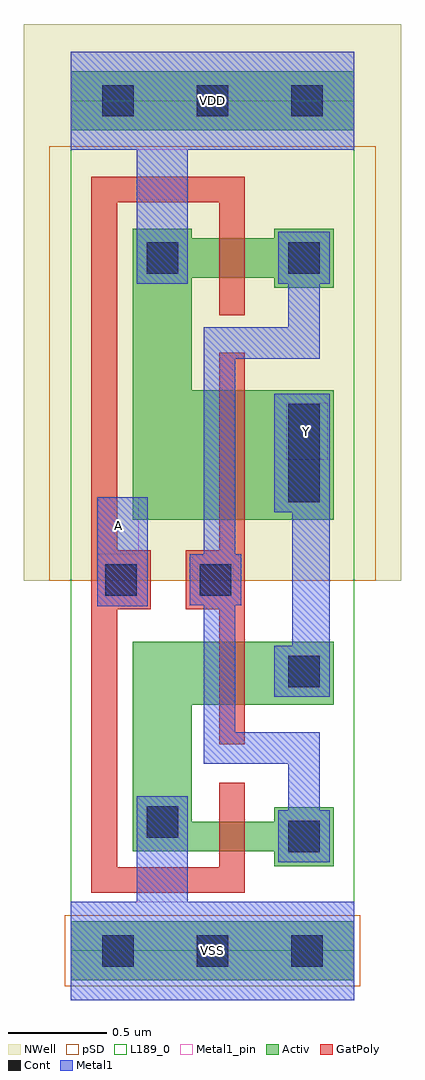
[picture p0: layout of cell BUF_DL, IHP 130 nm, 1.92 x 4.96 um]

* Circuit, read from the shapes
.subckt BUF_DL A VDD VSS Y
XM1 n1 A VSS VSS sg13_lv_nmos w=0.15u l=0.13u
XM2 Y n1 VSS VSS sg13_lv_nmos w=0.32u l=0.13u
XM3 Y n1 VDD VDD sg13_lv_pmos w=0.66u l=0.13u
XM4 n1 A VDD VDD sg13_lv_pmos w=0.2u l=0.13u
.ends

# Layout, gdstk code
import gdstk
lib = gdstk.Library(unit=1e-6, precision=1e-09)
def R(c, l, rs):  # rectangles x0, y0, x1, y1
    for r in rs: c.add(gdstk.rectangle(r[:2], r[2:], *l))
def A(c, l, x, y, w, h, nx, ny, dx, dy):  # array of equal rectangles
    R(c, l, [(x+i*dx, y+j*dy, x+i*dx+w, y+j*dy+h) for i in range(nx) for j in range(ny)])
def P(c, l, *ps):  # polygons
    for p in ps: c.add(gdstk.Polygon(p, *l))
Activ = (1, 0)
GatPoly = (5, 0)
Cont = (6, 0)
Metal1 = (8, 0)
Metal1_pin = (8, 2)
pSD = (14, 0)
NWell = (31, 0)
L189_0 = (189, 0)

buf_dl = lib.new_cell('BUF_DL')
R(buf_dl, Activ, [(0,-0.15,1.44,0.15), (0,4.17,1.44,4.47)])
P(buf_dl, Activ, [(0.615,3.42),(1.035,3.42),(1.035,3.37),(1.335,3.37),(1.335,3.67),(1.035,3.67),(1.035,3.62),(0.615,3.62),(0.615,3.67),(0.315,3.67),(0.315,2.19),(1.335,2.19),(1.335,2.85),(0.615,2.85)],
  [(1.035,0.73),(1.035,0.655),(0.615,0.655),(0.615,1.25),(1.335,1.25),(1.335,1.57),(0.315,1.57),(0.315,0.505),(1.035,0.505),(1.035,0.43),(1.335,0.43),(1.335,0.73)])
P(buf_dl, GatPoly, [(0.755,0.855),(0.755,0.425),(0.235,0.425),(0.235,1.735),(0.405,1.735),(0.405,2.035),(0.235,2.035),(0.235,3.805),(0.755,3.805),(0.755,3.23),(0.885,3.23),(0.885,3.935),(0.105,3.935),(0.105,0.295),(0.885,0.295),(0.885,0.855)],
  [(0.885,3.04),(0.755,3.04),(0.755,2.035),(0.585,2.035),(0.585,1.735),(0.755,1.735),(0.755,1.05),(0.885,1.05)])
A(buf_dl, Cont, 0.16, -0.08, 0.16, 0.16, 3, 2, 0.48, 4.32)
R(buf_dl, Cont, [(1.105,0.5,1.265,0.66), (0.385,0.575,0.545,0.735), (1.105,1.34,1.265,1.5), (0.175,1.805,0.335,1.965), (0.655,1.805,0.815,1.965), (1.105,2.28,1.265,2.78), (0.385,3.44,0.545,3.6), (1.105,3.44,1.265,3.6)])
R(buf_dl, Metal1, [(0.135,1.75,0.39,2.305)])
P(buf_dl, Metal1, [(0.595,4.07),(1.44,4.07),(1.44,4.57),(0,4.57),(0,4.07),(0.335,4.07),(0.335,3.39),(0.595,3.39)],
  [(1.265,3.01),(1.265,3.39),(1.315,3.39),(1.315,3.655),(1.055,3.655),(1.055,3.39),(1.105,3.39),(1.105,3.17),(0.675,3.17),(0.675,2.015),(0.605,2.015),(0.605,1.755),(0.675,1.755),(0.675,0.95),(1.105,0.95),(1.105,0.715),(1.055,0.715),(1.055,0.45),(1.315,0.45),(1.315,0.715),(1.265,0.715),(1.265,1.11),(0.835,1.11),(0.835,1.755),(0.865,1.755),(0.865,2.015),(0.835,2.015),(0.835,3.01)],
  [(1.315,2.83),(1.035,2.83),(1.035,2.23),(1.125,2.23),(1.125,1.55),(1.035,1.55),(1.035,1.29),(1.315,1.29)],
  [(1.44,0.25),(0.595,0.25),(0.595,0.785),(0.335,0.785),(0.335,0.25),(0,0.25),(0,-0.25),(1.44,-0.25)])
R(buf_dl, Metal1_pin, [(0,-0.25,1.44,0.25), (0.135,2.015,0.345,2.305), (1.095,2.495,1.305,2.785), (0,4.07,1.44,4.57)])
R(buf_dl, pSD, [(-0.03,-0.18,1.47,0.18), (-0.11,1.88,1.55,4.09)])
R(buf_dl, NWell, [(-0.24,1.88,1.68,4.71)])
R(buf_dl, L189_0, [(0,0,1.44,4.32)])
buf_dl.add(gdstk.Label('VDD', (0.72,4.32), layer=8, texttype=25))
buf_dl.add(gdstk.Label('VSS', (0.72,0), layer=8, texttype=25))
buf_dl.add(gdstk.Label('Y', (1.2,2.64), layer=8, texttype=25))
buf_dl.add(gdstk.Label('A', (0.24,2.16), layer=8, texttype=25))

lib.write_gds('BUF_DL.gds')
